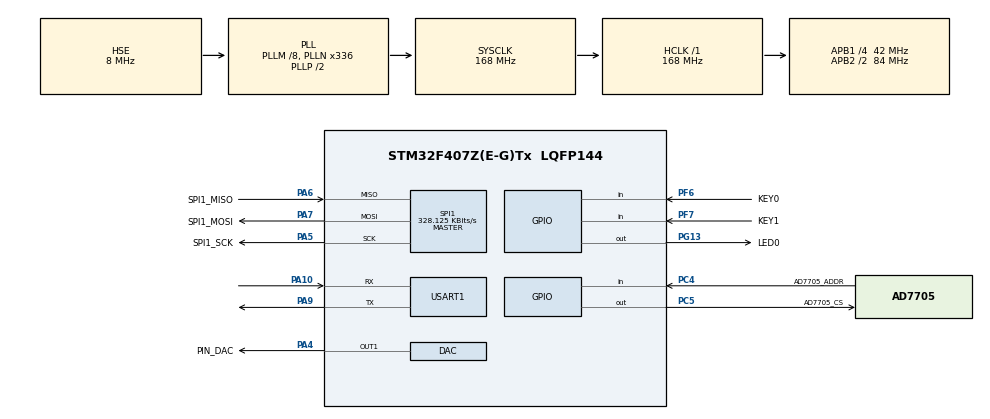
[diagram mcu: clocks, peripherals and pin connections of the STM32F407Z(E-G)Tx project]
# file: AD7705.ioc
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DAC.DAC_OutputBuffer=DAC_OUTPUTBUFFER_DISABLE
Mcu.Family=STM32F4
Mcu.Name=STM32F407Z(E-G)Tx
Mcu.Package=LQFP144
NVIC.PriorityGroup=NVIC_PRIORITYGROUP_2
PA10.Mode=Asynchronous
PA10.Signal=USART1_RX
PA13.Mode=Trace_Asynchronous_SW
PA13.Signal=SYS_JTMS-SWDIO
PA14.Mode=Trace_Asynchronous_SW
PA14.Signal=SYS_JTCK-SWCLK
PA4.GPIO_Label=PIN_DAC
PA4.Signal=COMP_DAC1_group
PA5.GPIO_Label=SPI1_SCK
PA5.Mode=Full_Duplex_Master
PA5.Signal=SPI1_SCK
PA6.GPIO_Label=SPI1_MISO
PA6.Mode=Full_Duplex_Master
PA6.Signal=SPI1_MISO
PA7.GPIO_Label=SPI1_MOSI
PA7.Mode=Full_Duplex_Master
PA7.Signal=SPI1_MOSI
PA9.Mode=Asynchronous
PA9.Signal=USART1_TX
PB3.Mode=Trace_Asynchronous_SW
PB3.Signal=SYS_JTDO-SWO
PC4.GPIO_Label=AD7705_ADDR
PC4.GPIO_PuPd=GPIO_PULLUP
PC4.Signal=GPIO_Input
PC5.GPIO_Label=AD7705_CS
PC5.Signal=GPIO_Output
PF6.GPIO_Label=KEY0
PF6.GPIO_PuPd=GPIO_PULLUP
PF6.Signal=GPIO_Input
PF7.GPIO_Label=KEY1
PF7.GPIO_PuPd=GPIO_PULLUP
PF7.Signal=GPIO_Input
PG13.GPIO_Label=LED0
PG13.Signal=GPIO_Output
PH0-OSC_IN.Mode=HSE-External-Oscillator
PH0-OSC_IN.Signal=RCC_OSC_IN
PH1-OSC_OUT.Mode=HSE-External-Oscillator
PH1-OSC_OUT.Signal=RCC_OSC_OUT
ProjectManager.HeapSize=0x200
ProjectManager.StackSize=0x400
ProjectManager.TargetToolchain=MDK-ARM V5.27
RCC.48MHZClocksFreq_Value=84000000
RCC.AHBFreq_Value=168000000
RCC.APB1CLKDivider=RCC_HCLK_DIV4
RCC.APB1Freq_Value=42000000
RCC.APB1TimFreq_Value=84000000
RCC.APB2CLKDivider=RCC_HCLK_DIV2
RCC.APB2Freq_Value=84000000
RCC.APB2TimFreq_Value=168000000
RCC.CortexFreq_Value=168000000
RCC.HCLKFreq_Value=168000000
RCC.HSE_VALUE=8000000
RCC.HSI_VALUE=16000000
RCC.LSE_VALUE=32768
RCC.PLLM=8
RCC.PLLN=336
RCC.PLLSourceVirtual=RCC_PLLSOURCE_HSE
RCC.SYSCLKFreq_VALUE=168000000
RCC.SYSCLKSource=RCC_SYSCLKSOURCE_PLLCLK
RCC.VCOOutputFreq_Value=336000000
SH.COMP_DAC1_group.0=DAC_OUT1,DAC_OUT1
SPI1.BaudRatePrescaler=SPI_BAUDRATEPRESCALER_256
SPI1.CLKPhase=SPI_PHASE_2EDGE
SPI1.CLKPolarity=SPI_POLARITY_HIGH
SPI1.CRCCalculation=SPI_CRCCALCULATION_ENABLE
SPI1.CalculateBaudRate=328.125 KBits/s
SPI1.Direction=SPI_DIRECTION_2LINES
SPI1.Mode=SPI_MODE_MASTER
SPI1.VirtualType=VM_MASTER
USART1.VirtualMode=VM_ASYNC
board=custom

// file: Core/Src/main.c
/* USER CODE BEGIN Header */
/**
  ******************************************************************************
  * @file           : main.c
  * @brief          : Main program body
  ******************************************************************************
  * @attention
  *
  * Copyright (c) 2022 STMicroelectronics.
  * All rights reserved.
  *
  * This software is licensed under terms that can be found in the LICENSE file
  * in the root directory of this software component.
  * If no LICENSE file comes with this software, it is provided AS-IS.
  *
  ******************************************************************************
  */
/* USER CODE END Header */
#include "main.h"
#include "dac.h"
#include "spi.h"
#include "usart.h"
#include "gpio.h"

/* USER CODE BEGIN Includes */
#include "ad7705.h"
/* USER CODE END Includes */

void SystemClock_Config(void);

/* USER CODE BEGIN 0 */
uint8_t num1[6];
uint32_t l_ncm1;
uint8_t num2[6];
uint32_t l_ncm2;
/* USER CODE END 0 */

int main(void)
{
  /* USER CODE BEGIN 1 */
	uint8_t key = 0;
	uint16_t dacval=0;
  /* USER CODE END 1 */

  /* MCU Configuration--------------------------------------------------------*/

  /* Reset of all peripherals, Initializes the Flash interface and the Systick. */
  HAL_Init();

  /* Configure the system clock */
  SystemClock_Config();

  /* Initialize all configured peripherals */
  MX_GPIO_Init();
  MX_DAC_Init();
  MX_SPI1_Init();
  MX_USART1_UART_Init();
  /* USER CODE BEGIN 2 */
	printf("HAL_TEST\r\n");
  /* USER CODE END 2 */

  /* Infinite loop */
  while (1)
  {

    /* USER CODE BEGIN 3 */
		ADC_7705();
		key=KEY_Scan(0);
    if(key==KEY1_PRES)
		{
			printf("KEY1_PUSH \r\n");
			if(dacval<4000)dacval+=200;
			// DAC_SetChannel1Data(DAC_Align_12b_R, dacval);
		}
		if(key==KEY0_PRES)
		{
 			printf("KEY0_PUSH\r\n");
      if(dacval>200)dacval-=200;
      else dacval=0;
			// DAC_SetChannel1Data(DAC_Align_12b_R, dacval);
		}
  }
  /* USER CODE END 3 */
}

void SystemClock_Config(void)
{
  RCC_OscInitTypeDef RCC_OscInitStruct = {0};
  RCC_ClkInitTypeDef RCC_ClkInitStruct = {0};

  /** Configure the main internal regulator output voltage
  */
  __HAL_RCC_PWR_CLK_ENABLE();
  __HAL_PWR_VOLTAGESCALING_CONFIG(PWR_REGULATOR_VOLTAGE_SCALE1);

  /** Initializes the RCC Oscillators according to the specified parameters
  * in the RCC_OscInitTypeDef structure.
  */
  RCC_OscInitStruct.OscillatorType = RCC_OSCILLATORTYPE_HSE;
  RCC_OscInitStruct.HSEState = RCC_HSE_ON;
  RCC_OscInitStruct.PLL.PLLState = RCC_PLL_ON;
  RCC_OscInitStruct.PLL.PLLSource = RCC_PLLSOURCE_HSE;
  RCC_OscInitStruct.PLL.PLLM = 8;
  RCC_OscInitStruct.PLL.PLLN = 336;
  RCC_OscInitStruct.PLL.PLLP = RCC_PLLP_DIV2;
  RCC_OscInitStruct.PLL.PLLQ = 4;
  if (HAL_RCC_OscConfig(&RCC_OscInitStruct) != HAL_OK)
  {
    Error_Handler();
  }

  /** Initializes the CPU, AHB and APB buses clocks
  */
  RCC_ClkInitStruct.ClockType = RCC_CLOCKTYPE_HCLK|RCC_CLOCKTYPE_SYSCLK
                              |RCC_CLOCKTYPE_PCLK1|RCC_CLOCKTYPE_PCLK2;
  RCC_ClkInitStruct.SYSCLKSource = RCC_SYSCLKSOURCE_PLLCLK;
  RCC_ClkInitStruct.AHBCLKDivider = RCC_SYSCLK_DIV1;
  RCC_ClkInitStruct.APB1CLKDivider = RCC_HCLK_DIV4;
  RCC_ClkInitStruct.APB2CLKDivider = RCC_HCLK_DIV2;

  if (HAL_RCC_ClockConfig(&RCC_ClkInitStruct, FLASH_LATENCY_5) != HAL_OK)
  {
    Error_Handler();
  }
}

/* USER CODE BEGIN 4 */
/*
Systick功能实现us延时，参数SYSCLK为系统时�?
*/
void for_delay_us(uint32_t nus) {
 uint32_t Delay = nus * 168/4; do {
  __NOP();
 } while (Delay --);
}
/* USER CODE END 4 */

void Error_Handler(void)
{
  __disable_irq();
  while (1)
  {
  }
}
